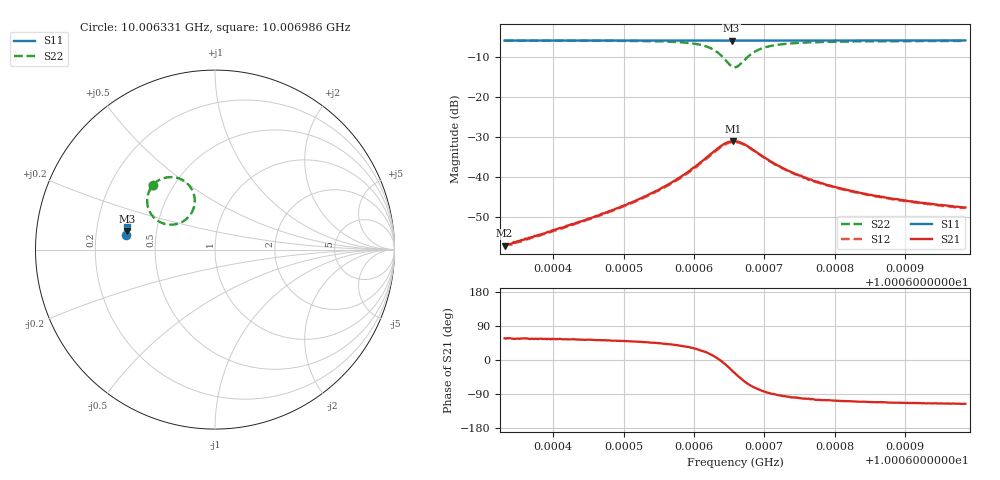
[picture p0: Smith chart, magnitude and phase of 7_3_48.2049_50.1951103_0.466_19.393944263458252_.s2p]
#  HZ  S  RI  R  50.00
! Rohde & Schwarz Vector Network Analyzer
! Rohde-Schwarz,ZNB20-2Port,1311601062101988,3.16
! Created: UTC 3/20/2024, 11:36:18 AM
! freq[Hz]  re:S11  im:S11  re:S21  im:S21  re:S12  im:S12  re:S22  im:S22
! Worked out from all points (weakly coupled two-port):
!   401 points, 10.006331 GHz to 10.006986 GHz, reference 50 ohm
!   highest |S21| = -31.09 dB at 10.006655 GHz (marker M1); lowest = -57.2 dB at 10.006331 GHz (marker M2)
!   lowest |S11| = -6.0 dB at 10.006654 GHz (marker M3), VSWR 3.00, Z = 16.8 + j4.65 ohm
!   |S11| at or under -10 dB: nowhere
!   |S22| runs from -12.6 to -6.0 dB; largest |S21 - S12| = 0.0023
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1.00063309e10  -0.4954 0.0836  0.000752 0.00117  0.000668 0.00119  -0.3448 0.3625
1.00064406e10  -0.4943 0.0909  0.00168 0.00225  0.00152 0.00229  -0.329 0.3758
1.00065028e10  -0.4934 0.0949  0.00288 0.00341  0.00265 0.0035  -0.3122 0.3868
1.00065503e10  -0.4928 0.0981  0.00496 0.00486  0.00463 0.00497  -0.2872 0.3976
1.0006588e10  -0.492 0.1008  0.00895 0.00632  0.00833 0.00658  -0.2455 0.4042
1.00066175e10  -0.491 0.1029  0.0162 0.00611  0.0155 0.00658  -0.1781 0.3856
1.0006629e10  -0.4904 0.1035  0.0206 0.00353  0.0197 0.0044  -0.1421 0.3544
1.00066404e10  -0.4896 0.1039  0.0248 -0.00215  0.0241 -0.000638  -0.1147 0.2943
1.0006647e10  -0.4893 0.1037  0.0259 -0.00703  0.0254 -0.00526  -0.1147 0.2479
1.00066535e10  -0.4891 0.1037  0.0249 -0.0124  0.025 -0.0104  -0.1334 0.2002
1.00066552e10  -0.4893 0.1035  0.0242 -0.0138  0.0246 -0.0115  -0.1409 0.1893
1.00066584e10  -0.4892 0.1034  0.0227 -0.016  0.0233 -0.0141  -0.1593 0.1705
1.00066634e10  -0.4895 0.1035  0.0199 -0.0189  0.0206 -0.0171  -0.192 0.1498
1.00066732e10  -0.49 0.1036  0.0131 -0.0213  0.0144 -0.0199  -0.2597 0.1392
1.00066847e10  -0.4906 0.1043  0.00684 -0.0205  0.00801 -0.0197  -0.318 0.1601
1.00066994e10  -0.4909 0.1053  0.00213 -0.0175  0.00312 -0.0172  -0.3565 0.1988
1.00067322e10  -0.491 0.1081  -0.00134 -0.012  -0.000697 -0.012  -0.3775 0.2603
1.00067682e10  -0.4908 0.1105  -0.00208 -0.00889  -0.00166 -0.00887  -0.3758 0.2948
1.00068141e10  -0.4902 0.1137  -0.0022 -0.00663  -0.00183 -0.00662  -0.3694 0.3178
1.00068779e10  -0.4893 0.118  -0.00204 -0.00502  -0.00177 -0.00502  -0.3614 0.3357
1.00069287e10  -0.4887 0.1212  -0.00192 -0.00428  -0.00169 -0.0043  -0.3562 0.3447
1.0006986e10  -0.4879 0.125  -0.0018 -0.00375  -0.00161 -0.00373  -0.3508 0.3522
